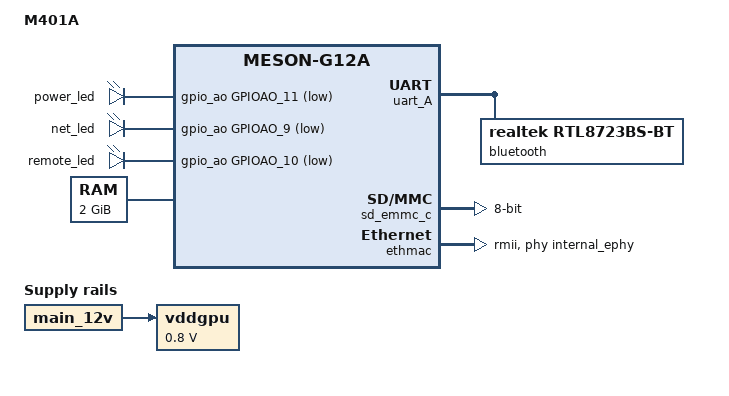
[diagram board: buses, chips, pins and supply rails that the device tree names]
// SPDX-License-Identifier: (GPL-2.0+ OR MIT)
/*
 * Copyright (c) 2018 Amlogic, Inc. All rights reserved.
 * Create by janko888 2022/11/27
 * Modify by Bokeylee 2022/11/29
 */
 
/dts-v1/;

#include "meson-g12a-u200.dts"

/ {
	compatible = "m401a", "amlogic,g12a";
	model = "M401A";
	
	aliases {
		serial1 = &uart_A;
	};
	
	vddgpu: regulator-vddgpu {
		compatible = "regulator-fixed";
		regulator-name = "mali";
		regulator-min-microvolt = <800000>;
		regulator-max-microvolt = <800000>;
		vin-supply = <&main_12v>;
		regulator-boot-on;
		regulator-always-on;
	};
	
	leds {
		compatible = "gpio-leds";

		power_led {
			led_name = "power_led";
					gpios = <&gpio_ao GPIOAO_11 GPIO_ACTIVE_LOW>;
			default-state = "on";
		};

		net_led {
			led_name = "net_led";
					gpios = <&gpio_ao GPIOAO_9 GPIO_ACTIVE_LOW>;
			default-state = "off";
			linux,default-trigger = "0.0:00:link";
		};

		remote_led {
			led_name = "remote_led";
					gpios = <&gpio_ao GPIOAO_10 GPIO_ACTIVE_LOW>;
			default-state = "off";
			linux,default-trigger = "rc-feedback";
		};

	};

	memory@0 {
		device_type = "memory";
		reg = <0x0 0x0 0x0 0x80000000>;
	};

};

&uart_A {
	status = "okay";
	pinctrl-0 = <&uart_a_pins>, <&uart_a_cts_rts_pins>;
	uart-has-rtscts;
	pinctrl-names = "default";
	
        bluetooth {
                compatible = "realtek,rtl8723bs-bt";
                max-speed = <2000000>;
                clocks = <&wifi32k>;
                clock-names = "lpo";
        };
};

&mali {
	mali-supply=<&vddgpu>;
};

/* SD card */
/* No SD card in M401A */
&sd_emmc_b {
	status = "disabled";
	bus-width = <4>;
	cap-sd-highspeed;
	max-frequency = <50000000>;
};

/* eMMC */
&sd_emmc_c {
	status = "okay";
	bus-width = <8>;
	cap-mmc-highspeed;
	mmc-ddr-1_8v;
	mmc-hs200-1_8v;
	max-frequency = <100000000>;
};

/* CPU Overclock */
&cpu_opp_table {
	opp-100000000 {
		opp-hz = <0x00 0x5f5e100>;
		opp-microvolt = <0xb2778>;
		status = "disabled";
	};
	opp-250000000 {
		opp-hz = <0x00 0xee6b280>;
		opp-microvolt = <0xb2778>;
		status = "disabled";
	};
	opp-500000000 {
		opp-hz = <0x00 0x1dcd6500>;
		opp-microvolt = <0xb2778>;
		status = "disabled";
	};
	opp-667000000 {
		opp-hz = <0x00 0x27bc86aa>;
		opp-microvolt = <0xb2778>;
		status = "disabled";
	};
	opp-1000000000 {
		opp-hz = <0x00 0x3b9aca00>;
		opp-microvolt = <0xb2778>;
	};
	opp-1200000000 {
		opp-hz = <0x00 0x47868c00>;
		opp-microvolt = <0xb9ca8>;
	};
	opp-1398000000 {
		opp-hz = <0x00 0x5353c980>;
		opp-microvolt = <0xc11d8>;
	};
	opp-1512000000 {
		opp-hz = <0x00 0x5a1f4a00>;
		opp-microvolt = <0xcae18>;
	};
	opp-1608000000 {
		opp-hz = <0x00 0x5fd82200>;
		opp-microvolt = <0xd4a58>;
	};
	opp-1704000000 {
		opp-hz = <0x00 0x6590fa00>;
		opp-microvolt = <0xd0da8>;
	};
	opp-1800000000 {
		status = "disabled";
	};
};

&internal_ephy  {
	max-speed = <100>;
};

&ethmac {
	/delete-property/ resets;
	/delete-property/ reset-names;
	phy-handle = <&internal_ephy>;
	phy-mode = "rmii";
	status = "okay";
};
